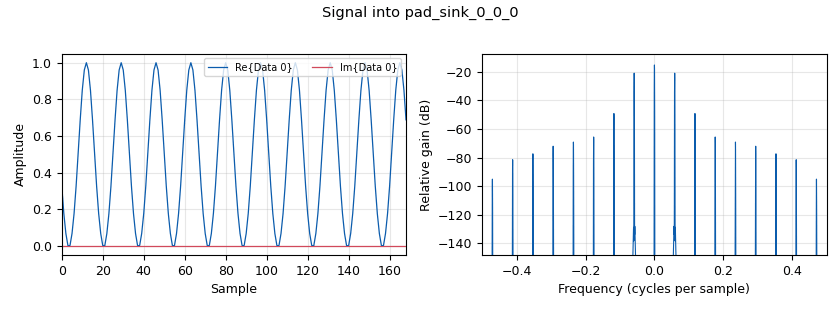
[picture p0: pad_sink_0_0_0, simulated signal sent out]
<?xml version='1.0' encoding='utf-8'?>
<?grc format='1' created='3.7.8'?>
<flow_graph>
<block>
<key>options</key>
<param><key>id</key><value>b_Raised_cosine2_cc</value></param>
<param><key>author</key><value>Done by: Homero Ortega Boada. Universidad Industrial de Santander</value></param>
<param><key>category</key><value>borrar</value></param>
<param><key>description</key><value>It is the Raised Cosine Filter. Usually gnuradio comes with the square root variant, but this is the right one. This version2 is more computing economic than the first one. Parameters: rolloff - is the rolloff factor or Exccess Bandwidth;  sps - the number of samples per simbol the filter will produce. Note that at the input must be only one sample per simbol; ntaps - the number of components of the Impulse response to take into account</value></param>
<param><key>generate_options</key><value>hb</value></param>
<param><key>title</key><value>b_Raised_cosine2_cc</value></param>
</block>
<block>
<key>variable</key>
<param><key>id</key><value>Amp</value></param>
<param><key>value</key><value>numpy.amax(rc_taps_a)</value></param>
</block>
<block>
<key>variable</key>
<param><key>id</key><value>rc_taps</value></param>
<param><key>value</key><value>rc_taps_a/Amp</value></param>
</block>
<block>
<key>variable</key>
<param><key>id</key><value>rc_taps_a</value></param>
<param><key>value</key><value>numpy.convolve(rrc_taps,rrc_taps,mode='same')</value></param>
</block>
<block>
<key>variable</key>
<param><key>id</key><value>rrc_taps</value></param>
<param><key>value</key><value>firdes.root_raised_cosine(1, sps, 1, rolloff, ntaps)</value></param>
</block>
<block>
<key>blocks_vector_source_x</key>
<param><key>id</key><value>blocks_vector_source_x_0_0</value></param>
<param><key>type</key><value>complex</value></param>
<param><key>repeat</key><value>True</value></param>
<param><key>vector</key><value>rc_taps</value></param>
</block>
<block>
<key>import</key>
<param><key>id</key><value>import_0</value></param>
<param><key>import</key><value>import numpy</value></param>
</block>
<block>
<key>interp_fir_filter_xxx</key>
<param><key>id</key><value>interp_fir_filter_xxx_0_0</value></param>
<param><key>interp</key><value>sps</value></param>
<param><key>taps</key><value>rc_taps</value></param>
<param><key>type</key><value>ccc</value></param>
</block>
<block>
<key>interp_fir_filter_xxx</key>
<param><key>id</key><value>interp_fir_filter_xxx_0_0_0</value></param>
<param><key>_enabled</key><value>0</value></param>
<param><key>interp</key><value>sps</value></param>
<param><key>taps</key><value>rrc_taps/numpy.sqrt(Amp)</value></param>
<param><key>type</key><value>ccc</value></param>
</block>
<block>
<key>interp_fir_filter_xxx</key>
<param><key>id</key><value>interp_fir_filter_xxx_0_0_0_0</value></param>
<param><key>_enabled</key><value>0</value></param>
<param><key>interp</key><value>1</value></param>
<param><key>taps</key><value>rrc_taps/numpy.sqrt(Amp)</value></param>
<param><key>type</key><value>ccc</value></param>
</block>
<block>
<key>note</key>
<param><key>id</key><value>note_0</value></param>
<param><key>_enabled</key><value>0</value></param>
<param><key>note</key><value>La version de abajo tambien funciona, es menos economica. La dejamos para recC sino ordar como es el truco cuando no se usa RC sino RRC. Vemos que los dos elementos deben tener diferente configuracion de interpolacion</value></param>
</block>
<block>
<key>parameter</key>
<param><key>id</key><value>ntaps</value></param>
<param><key>type</key><value>intx</value></param>
<param><key>value</key><value>16</value></param>
</block>
<block>
<key>pad_sink</key>
<param><key>id</key><value>pad_sink_0</value></param>
<param><key>type</key><value>complex</value></param>
<param><key>label</key><value>out</value></param>
</block>
<block>
<key>pad_sink</key>
<param><key>id</key><value>pad_sink_0_0</value></param>
<param><key>_enabled</key><value>0</value></param>
<param><key>type</key><value>complex</value></param>
<param><key>label</key><value>out</value></param>
</block>
<block>
<key>pad_sink</key>
<param><key>id</key><value>pad_sink_0_0_0</value></param>
<param><key>type</key><value>complex</value></param>
<param><key>label</key><value>rc</value></param>
<param><key>optional</key><value>True</value></param>
</block>
<block>
<key>pad_source</key>
<param><key>id</key><value>pad_source_0</value></param>
<param><key>label</key><value>in</value></param>
<param><key>type</key><value>complex</value></param>
</block>
<block>
<key>pad_source</key>
<param><key>id</key><value>pad_source_0_0</value></param>
<param><key>_enabled</key><value>0</value></param>
<param><key>label</key><value>in</value></param>
<param><key>type</key><value>complex</value></param>
</block>
<block>
<key>parameter</key>
<param><key>id</key><value>rolloff</value></param>
<param><key>type</key><value>eng_float</value></param>
<param><key>value</key><value>1</value></param>
</block>
<block>
<key>parameter</key>
<param><key>id</key><value>sps</value></param>
<param><key>type</key><value>intx</value></param>
<param><key>value</key><value>8</value></param>
</block>
<connection><source_block_id>blocks_vector_source_x_0_0</source_block_id><sink_block_id>pad_sink_0_0_0</sink_block_id><source_key>0</source_key><sink_key>0</sink_key></connection>
<connection><source_block_id>interp_fir_filter_xxx_0_0</source_block_id><sink_block_id>pad_sink_0</sink_block_id><source_key>0</source_key><sink_key>0</sink_key></connection>
<connection><source_block_id>interp_fir_filter_xxx_0_0_0</source_block_id><sink_block_id>interp_fir_filter_xxx_0_0_0_0</sink_block_id><source_key>0</source_key><sink_key>0</sink_key></connection>
<connection><source_block_id>interp_fir_filter_xxx_0_0_0_0</source_block_id><sink_block_id>pad_sink_0_0</sink_block_id><source_key>0</source_key><sink_key>0</sink_key></connection>
<connection><source_block_id>pad_source_0</source_block_id><sink_block_id>interp_fir_filter_xxx_0_0</sink_block_id><source_key>0</source_key><sink_key>0</sink_key></connection>
<connection><source_block_id>pad_source_0_0</source_block_id><sink_block_id>interp_fir_filter_xxx_0_0_0</sink_block_id><source_key>0</source_key><sink_key>0</sink_key></connection>
</flow_graph>
